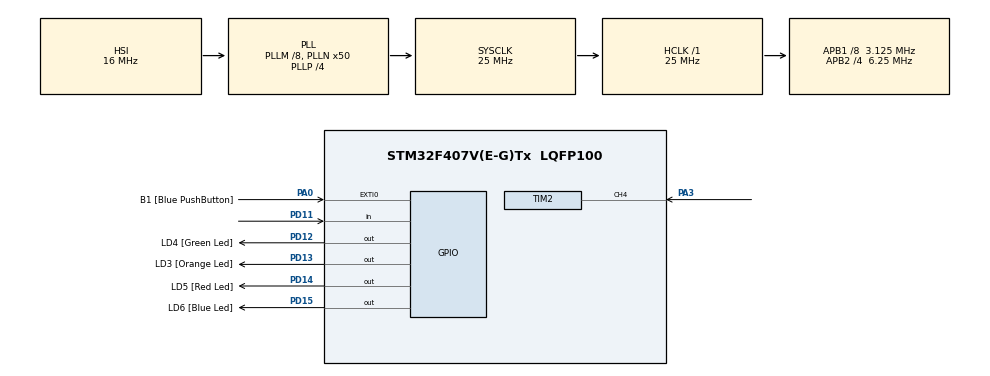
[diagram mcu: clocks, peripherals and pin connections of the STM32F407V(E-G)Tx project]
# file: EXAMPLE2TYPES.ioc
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Mcu.Family=STM32F4
Mcu.Name=STM32F407V(E-G)Tx
Mcu.Package=LQFP100
NVIC.PriorityGroup=NVIC_PRIORITYGROUP_0
NVIC.TIM2_IRQn=true\:0\:0\:false\:false\:true\:true
PA0-WKUP.GPIO_Label=B1 [Blue PushButton]
PA0-WKUP.GPIO_ModeDefaultEXTI=GPIO_MODE_EVT_RISING
PA0-WKUP.GPIO_PuPd=GPIO_NOPULL
PA0-WKUP.Signal=GPXTI0
PA10.GPIO_Label=OTG_FS_ID
PA10.GPIO_Mode=GPIO_MODE_AF_PP
PA10.GPIO_PuPd=GPIO_NOPULL
PA10.GPIO_Speed=GPIO_SPEED_FREQ_LOW
PA10.Signal=USB_OTG_FS_ID
PA11.GPIO_Label=OTG_FS_DM
PA11.GPIO_Mode=GPIO_MODE_AF_PP
PA11.GPIO_PuPd=GPIO_NOPULL
PA11.GPIO_Speed=GPIO_SPEED_FREQ_LOW
PA11.Signal=USB_OTG_FS_DM
PA12.GPIO_Label=OTG_FS_DP
PA12.GPIO_Mode=GPIO_MODE_AF_PP
PA12.GPIO_PuPd=GPIO_NOPULL
PA12.GPIO_Speed=GPIO_SPEED_FREQ_LOW
PA12.Signal=USB_OTG_FS_DP
PA13.GPIO_Label=SWDIO
PA13.Signal=SYS_JTMS-SWDIO
PA14.GPIO_Label=SWCLK
PA14.Signal=SYS_JTCK-SWCLK
PA3.Signal=S_TIM2_CH4
PA4.GPIO_Label=I2S3_WS [CS43L22_LRCK]
PA4.GPIO_Mode=GPIO_MODE_AF_PP
PA4.GPIO_PuPd=GPIO_NOPULL
PA4.GPIO_Speed=GPIO_SPEED_FREQ_LOW
PA4.Signal=I2S3_WS
PA5.GPIO_Label=SPI1_SCK [LIS302DL_SCL/SPC]
PA5.GPIO_Mode=GPIO_MODE_AF_PP
PA5.GPIO_PuPd=GPIO_NOPULL
PA5.GPIO_Speed=GPIO_SPEED_FREQ_LOW
PA5.Signal=SPI1_SCK
PA6.GPIO_Label=SPI1_MISO [LIS302DL_SDO]
PA6.GPIO_Mode=GPIO_MODE_AF_PP
PA6.GPIO_PuPd=GPIO_NOPULL
PA6.GPIO_Speed=GPIO_SPEED_FREQ_LOW
PA6.Signal=SPI1_MISO
PA7.GPIO_Label=SPI1_MOSI [LIS302DL_SDA/SDI/SDO]
PA7.GPIO_Mode=GPIO_MODE_AF_PP
PA7.GPIO_PuPd=GPIO_NOPULL
PA7.GPIO_Speed=GPIO_SPEED_FREQ_LOW
PA7.Signal=SPI1_MOSI
PA9.GPIO_Label=VBUS_FS
PA9.GPIO_Mode=GPIO_MODE_INPUT
PA9.GPIO_PuPd=GPIO_NOPULL
PA9.Signal=USB_OTG_FS_VBUS
PB10.GPIO_Label=CLK_IN [MP45DT02_CLK]
PB10.GPIO_Mode=GPIO_MODE_AF_PP
PB10.GPIO_PuPd=GPIO_NOPULL
PB10.GPIO_Speed=GPIO_SPEED_FREQ_LOW
PB10.Signal=I2S2_CK
PB3.GPIO_Label=SWO
PB3.Signal=SYS_JTDO-SWO
PB6.GPIO_Label=Audio_SCL [CS43L22_SCL]
PB6.GPIO_Mode=GPIO_MODE_AF_OD
PB6.GPIO_PuPd=GPIO_NOPULL
PB6.GPIO_Speed=GPIO_SPEED_FREQ_LOW
PB6.Signal=I2C1_SCL
PB9.GPIO_Label=Audio_SDA [CS43L22_SDA]
PB9.GPIO_Mode=GPIO_MODE_AF_OD
PB9.GPIO_PuPd=GPIO_NOPULL
PB9.GPIO_Speed=GPIO_SPEED_FREQ_LOW
PB9.Signal=I2C1_SDA
PC10.GPIO_Label=I2S3_SCK [CS43L22_SCLK]
PC10.GPIO_Mode=GPIO_MODE_AF_PP
PC10.GPIO_PuPd=GPIO_NOPULL
PC10.GPIO_Speed=GPIO_SPEED_FREQ_LOW
PC10.Signal=I2S3_CK
PC12.GPIO_Label=I2S3_SD [CS43L22_SDIN]
PC12.GPIO_Mode=GPIO_MODE_AF_PP
PC12.GPIO_PuPd=GPIO_NOPULL
PC12.GPIO_Speed=GPIO_SPEED_FREQ_LOW
PC12.Signal=I2S3_SD
PC14-OSC32_IN.GPIO_Label=PC14-OSC32_IN
PC14-OSC32_IN.Signal=RCC_OSC32_IN
PC15-OSC32_OUT.GPIO_Label=PC15-OSC32_OUT
PC15-OSC32_OUT.Signal=RCC_OSC32_OUT
PC3.GPIO_Label=PDM_OUT [MP45DT02_DOUT]
PC3.GPIO_Mode=GPIO_MODE_AF_PP
PC3.GPIO_PuPd=GPIO_NOPULL
PC3.GPIO_Speed=GPIO_SPEED_FREQ_LOW
PC3.Signal=I2S2_SD
PC7.GPIO_Label=I2S3_MCK [CS43L22_MCLK]
PC7.GPIO_Mode=GPIO_MODE_AF_PP
PC7.GPIO_PuPd=GPIO_NOPULL
PC7.GPIO_Speed=GPIO_SPEED_FREQ_LOW
PC7.Signal=I2S3_MCK
PD11.Signal=GPIO_Input
PD12.GPIO_Label=LD4 [Green Led]
PD12.GPIO_PuPd=GPIO_NOPULL
PD12.GPIO_Speed=GPIO_SPEED_FREQ_LOW
PD12.Signal=GPIO_Output
PD13.GPIO_Label=LD3 [Orange Led]
PD13.GPIO_PuPd=GPIO_NOPULL
PD13.GPIO_Speed=GPIO_SPEED_FREQ_LOW
PD13.Signal=GPIO_Output
PD14.GPIO_Label=LD5 [Red Led]
PD14.GPIO_PuPd=GPIO_NOPULL
PD14.GPIO_Speed=GPIO_SPEED_FREQ_LOW
PD14.Signal=GPIO_Output
PD15.GPIO_Label=LD6 [Blue Led]
PD15.GPIO_PuPd=GPIO_NOPULL
PD15.GPIO_Speed=GPIO_SPEED_FREQ_LOW
PD15.Signal=GPIO_Output
PH0-OSC_IN.GPIO_Label=PH0-OSC_IN
PH0-OSC_IN.Signal=RCC_OSC_IN
PH1-OSC_OUT.GPIO_Label=PH1-OSC_OUT
PH1-OSC_OUT.Signal=RCC_OSC_OUT
ProjectManager.HeapSize=0x200
ProjectManager.StackSize=0x400
ProjectManager.TargetToolchain=MDK-ARM V5
RCC.48MHZClocksFreq_Value=14285714.285714285
RCC.AHBFreq_Value=25000000
RCC.APB1CLKDivider=RCC_HCLK_DIV8
RCC.APB1Freq_Value=3125000
RCC.APB1TimFreq_Value=6250000
RCC.APB2CLKDivider=RCC_HCLK_DIV4
RCC.APB2Freq_Value=6250000
RCC.APB2TimFreq_Value=12500000
RCC.CortexFreq_Value=25000000
RCC.HCLKFreq_Value=25000000
RCC.HSE_VALUE=8000000
RCC.HSI_VALUE=16000000
RCC.LSE_VALUE=32768
RCC.PLLM=8
RCC.PLLN=50
RCC.PLLP=RCC_PLLP_DIV4
RCC.PLLQ=7
RCC.SYSCLKFreq_VALUE=25000000
RCC.SYSCLKSource=RCC_SYSCLKSOURCE_PLLCLK
RCC.VCOOutputFreq_Value=100000000
SH.S_TIM2_CH4.0=TIM2_CH4,Input_Capture4_from_TI4
TIM2.Channel-Input_Capture4_from_TI4=TIM_CHANNEL_4
TIM2.ICFilter_CH4=15
TIM2.Period=100000
TIM2.Prescaler=16000
VP_TIM2_VS_ClockSourceINT.Mode=Internal
board=STM32F4DISCOVERY

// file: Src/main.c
/**
  ******************************************************************************
  * @file           : main.c
  * @brief          : Main program body
  ******************************************************************************
  ** This notice applies to any and all portions of this file
  * that are not between comment pairs USER CODE BEGIN and
  * USER CODE END. Other portions of this file, whether
  * inserted by the user or by software development tools
  * are owned by their respective copyright owners.
  *
  * COPYRIGHT(c) 2018 STMicroelectronics
  *
  * Redistribution and use in source and binary forms, with or without modification,
  * are permitted provided that the following conditions are met:
  *   1. Redistributions of source code must retain the above copyright notice,
  *      this list of conditions and the following disclaimer.
  *   2. Redistributions in binary form must reproduce the above copyright notice,
  *      this list of conditions and the following disclaimer in the documentation
  *      and/or other materials provided with the distribution.
  *   3. Neither the name of STMicroelectronics nor the names of its contributors
  *      may be used to endorse or promote products derived from this software
  *      without specific prior written permission.
  *
  * THIS SOFTWARE IS PROVIDED BY THE COPYRIGHT HOLDERS AND CONTRIBUTORS "AS IS"
  * AND ANY EXPRESS OR IMPLIED WARRANTIES, INCLUDING, BUT NOT LIMITED TO, THE
  * IMPLIED WARRANTIES OF MERCHANTABILITY AND FITNESS FOR A PARTICULAR PURPOSE ARE
  * DISCLAIMED. IN NO EVENT SHALL THE COPYRIGHT HOLDER OR CONTRIBUTORS BE LIABLE
  * FOR ANY DIRECT, INDIRECT, INCIDENTAL, SPECIAL, EXEMPLARY, OR CONSEQUENTIAL
  * DAMAGES (INCLUDING, BUT NOT LIMITED TO, PROCUREMENT OF SUBSTITUTE GOODS OR
  * SERVICES; LOSS OF USE, DATA, OR PROFITS; OR BUSINESS INTERRUPTION) HOWEVER
  * CAUSED AND ON ANY THEORY OF LIABILITY, WHETHER IN CONTRACT, STRICT LIABILITY,
  * OR TORT (INCLUDING NEGLIGENCE OR OTHERWISE) ARISING IN ANY WAY OUT OF THE USE
  * OF THIS SOFTWARE, EVEN IF ADVISED OF THE POSSIBILITY OF SUCH DAMAGE.
  *
  ******************************************************************************
  */
#include "main.h"
#include "stm32f4xx_hal.h"

TIM_HandleTypeDef htim2;

/* USER CODE BEGIN PV */
/* Private variables ---------------------------------------------------------*/

/* USER CODE END PV */

void SystemClock_Config(void);
static void MX_GPIO_Init(void);
static void MX_TIM2_Init(void);

/* USER CODE BEGIN PFP */
/* Private function prototypes -----------------------------------------------*/

/* USER CODE END PFP */

/* USER CODE BEGIN 0 */
uint32_t counterVal;
uint32_t inputCaptureVal;
int counton=0;

//Callback, se llama cuando se presiona el botСn PA3
void HAL_TIM_IC_CaptureCallback(TIM_HandleTypeDef *htim)
{
  /* Prevent unused argument(s) compilation warning */
  //UNUSED(htim);
  /* NOTE : This function Should not be modified, when the callback is needed,
            the __HAL_TIM_IC_CaptureCallback could be implemented in the user file
   */
	//Comprobar que viene del timer 2

	if (htim->Instance==TIM2)
		{
		inputCaptureVal = __HAL_TIM_GetCounter(htim);
		__HAL_TIM_SetCounter(htim,0);

	  }

}
/* USER CODE END 0 */

int main(void)
{

  /* MCU Configuration----------------------------------------------------------*/

  /* Reset of all peripherals, Initializes the Flash interface and the Systick. */
  HAL_Init();

  /* Configure the system clock */
  SystemClock_Config();

  /* Initialize all configured peripherals */
  MX_GPIO_Init();
  MX_TIM2_Init();
  /* USER CODE BEGIN 2 */

	HAL_TIM_IC_Start_IT(&htim2,TIM_CHANNEL_4);//activamos el canal 4 del TIM2

  /* USER CODE END 2 */

  /* Infinite loop */
  while (1)
  {

  /* USER CODE BEGIN 3 */
		counterVal = __HAL_TIM_GetCounter(&htim2);//capturamos el valor del contador

		//bucle para comprobar que ponemos a cero el contador cuando pulsamos(inutil para el funcionamiento)

		if(counterVal == 0){
			HAL_GPIO_WritePin(GPIOD,GPIO_PIN_15,1);
		}else{
			HAL_GPIO_WritePin(GPIOD,GPIO_PIN_15,0);

		}

		//bucle que hace que se apage el led cada cierto tiempo

		if (counterVal < 9000)
			{
			if(HAL_GPIO_ReadPin(GPIOA,GPIO_PIN_3)==1)
				{
			   HAL_GPIO_WritePin(GPIOD,GPIO_PIN_14,1);
			  }
		  }else {
			HAL_GPIO_WritePin(GPIOD,GPIO_PIN_14,0);

		    }

		//bucle del interruptor simple
		int pusher1=HAL_GPIO_ReadPin(GPIOD,GPIO_PIN_11);

		if(pusher1==1)
			{
      if(counton==0)
				{
		  HAL_GPIO_WritePin(GPIOD,GPIO_PIN_13,1);
			counton++;
				}
	    else if(counton==1)
			{
		     if(pusher1==1)
					 {
		          HAL_GPIO_WritePin(GPIOD,GPIO_PIN_13,0);
							counton--;

					 }
		   }
		}

  }
  /* USER CODE END 3 */

}

void SystemClock_Config(void)
{

  RCC_OscInitTypeDef RCC_OscInitStruct;
  RCC_ClkInitTypeDef RCC_ClkInitStruct;

    /**Configure the main internal regulator output voltage
    */
  __HAL_RCC_PWR_CLK_ENABLE();

  __HAL_PWR_VOLTAGESCALING_CONFIG(PWR_REGULATOR_VOLTAGE_SCALE1);

    /**Initializes the CPU, AHB and APB busses clocks
    */
  RCC_OscInitStruct.OscillatorType = RCC_OSCILLATORTYPE_HSI;
  RCC_OscInitStruct.HSIState = RCC_HSI_ON;
  RCC_OscInitStruct.HSICalibrationValue = 16;
  RCC_OscInitStruct.PLL.PLLState = RCC_PLL_ON;
  RCC_OscInitStruct.PLL.PLLSource = RCC_PLLSOURCE_HSI;
  RCC_OscInitStruct.PLL.PLLM = 8;
  RCC_OscInitStruct.PLL.PLLN = 50;
  RCC_OscInitStruct.PLL.PLLP = RCC_PLLP_DIV4;
  RCC_OscInitStruct.PLL.PLLQ = 7;
  if (HAL_RCC_OscConfig(&RCC_OscInitStruct) != HAL_OK)
  {
    _Error_Handler(__FILE__, __LINE__);
  }

    /**Initializes the CPU, AHB and APB busses clocks
    */
  RCC_ClkInitStruct.ClockType = RCC_CLOCKTYPE_HCLK|RCC_CLOCKTYPE_SYSCLK
                              |RCC_CLOCKTYPE_PCLK1|RCC_CLOCKTYPE_PCLK2;
  RCC_ClkInitStruct.SYSCLKSource = RCC_SYSCLKSOURCE_PLLCLK;
  RCC_ClkInitStruct.AHBCLKDivider = RCC_SYSCLK_DIV1;
  RCC_ClkInitStruct.APB1CLKDivider = RCC_HCLK_DIV8;
  RCC_ClkInitStruct.APB2CLKDivider = RCC_HCLK_DIV4;

  if (HAL_RCC_ClockConfig(&RCC_ClkInitStruct, FLASH_LATENCY_0) != HAL_OK)
  {
    _Error_Handler(__FILE__, __LINE__);
  }

    /**Configure the Systick interrupt time
    */
  HAL_SYSTICK_Config(HAL_RCC_GetHCLKFreq()/1000);

    /**Configure the Systick
    */
  HAL_SYSTICK_CLKSourceConfig(SYSTICK_CLKSOURCE_HCLK);

  /* SysTick_IRQn interrupt configuration */
  HAL_NVIC_SetPriority(SysTick_IRQn, 0, 0);
}

/* TIM2 init function */
static void MX_TIM2_Init(void)
{

  TIM_ClockConfigTypeDef sClockSourceConfig;
  TIM_MasterConfigTypeDef sMasterConfig;
  TIM_IC_InitTypeDef sConfigIC;

  htim2.Instance = TIM2;
  htim2.Init.Prescaler = 16000;
  htim2.Init.CounterMode = TIM_COUNTERMODE_UP;
  htim2.Init.Period = 100000;
  htim2.Init.ClockDivision = TIM_CLOCKDIVISION_DIV1;
  if (HAL_TIM_Base_Init(&htim2) != HAL_OK)
  {
    _Error_Handler(__FILE__, __LINE__);
  }

  sClockSourceConfig.ClockSource = TIM_CLOCKSOURCE_INTERNAL;
  if (HAL_TIM_ConfigClockSource(&htim2, &sClockSourceConfig) != HAL_OK)
  {
    _Error_Handler(__FILE__, __LINE__);
  }

  if (HAL_TIM_IC_Init(&htim2) != HAL_OK)
  {
    _Error_Handler(__FILE__, __LINE__);
  }

  sMasterConfig.MasterOutputTrigger = TIM_TRGO_RESET;
  sMasterConfig.MasterSlaveMode = TIM_MASTERSLAVEMODE_DISABLE;
  if (HAL_TIMEx_MasterConfigSynchronization(&htim2, &sMasterConfig) != HAL_OK)
  {
    _Error_Handler(__FILE__, __LINE__);
  }

  sConfigIC.ICPolarity = TIM_INPUTCHANNELPOLARITY_RISING;
  sConfigIC.ICSelection = TIM_ICSELECTION_DIRECTTI;
  sConfigIC.ICPrescaler = TIM_ICPSC_DIV1;
  sConfigIC.ICFilter = 15;
  if (HAL_TIM_IC_ConfigChannel(&htim2, &sConfigIC, TIM_CHANNEL_4) != HAL_OK)
  {
    _Error_Handler(__FILE__, __LINE__);
  }

}

/** Configure pins as
        * Analog
        * Input
        * Output
        * EVENT_OUT
        * EXTI
     PC3   ------> I2S2_SD
     PA4   ------> I2S3_WS
     PA5   ------> SPI1_SCK
     PA6   ------> SPI1_MISO
     PA7   ------> SPI1_MOSI
     PB10   ------> I2S2_CK
     PC7   ------> I2S3_MCK
     PA9   ------> USB_OTG_FS_VBUS
     PA10   ------> USB_OTG_FS_ID
     PA11   ------> USB_OTG_FS_DM
     PA12   ------> USB_OTG_FS_DP
     PC10   ------> I2S3_CK
     PC12   ------> I2S3_SD
     PB6   ------> I2C1_SCL
     PB9   ------> I2C1_SDA
*/
static void MX_GPIO_Init(void)
{

  GPIO_InitTypeDef GPIO_InitStruct;

  /* GPIO Ports Clock Enable */
  __HAL_RCC_GPIOC_CLK_ENABLE();
  __HAL_RCC_GPIOH_CLK_ENABLE();
  __HAL_RCC_GPIOA_CLK_ENABLE();
  __HAL_RCC_GPIOB_CLK_ENABLE();
  __HAL_RCC_GPIOD_CLK_ENABLE();

  /*Configure GPIO pin Output Level */
  HAL_GPIO_WritePin(GPIOD, LD4_Pin|LD3_Pin|LD5_Pin|LD6_Pin, GPIO_PIN_RESET);

  /*Configure GPIO pin : PDM_OUT_Pin */
  GPIO_InitStruct.Pin = PDM_OUT_Pin;
  GPIO_InitStruct.Mode = GPIO_MODE_AF_PP;
  GPIO_InitStruct.Pull = GPIO_NOPULL;
  GPIO_InitStruct.Speed = GPIO_SPEED_FREQ_LOW;
  GPIO_InitStruct.Alternate = GPIO_AF5_SPI2;
  HAL_GPIO_Init(PDM_OUT_GPIO_Port, &GPIO_InitStruct);

  /*Configure GPIO pin : B1_Pin */
  GPIO_InitStruct.Pin = B1_Pin;
  GPIO_InitStruct.Mode = GPIO_MODE_EVT_RISING;
  GPIO_InitStruct.Pull = GPIO_NOPULL;
  HAL_GPIO_Init(B1_GPIO_Port, &GPIO_InitStruct);

  /*Configure GPIO pin : I2S3_WS_Pin */
  GPIO_InitStruct.Pin = I2S3_WS_Pin;
  GPIO_InitStruct.Mode = GPIO_MODE_AF_PP;
  GPIO_InitStruct.Pull = GPIO_NOPULL;
  GPIO_InitStruct.Speed = GPIO_SPEED_FREQ_LOW;
  GPIO_InitStruct.Alternate = GPIO_AF6_SPI3;
  HAL_GPIO_Init(I2S3_WS_GPIO_Port, &GPIO_InitStruct);

  /*Configure GPIO pins : SPI1_SCK_Pin SPI1_MISO_Pin SPI1_MOSI_Pin */
  GPIO_InitStruct.Pin = SPI1_SCK_Pin|SPI1_MISO_Pin|SPI1_MOSI_Pin;
  GPIO_InitStruct.Mode = GPIO_MODE_AF_PP;
  GPIO_InitStruct.Pull = GPIO_NOPULL;
  GPIO_InitStruct.Speed = GPIO_SPEED_FREQ_LOW;
  GPIO_InitStruct.Alternate = GPIO_AF5_SPI1;
  HAL_GPIO_Init(GPIOA, &GPIO_InitStruct);

  /*Configure GPIO pin : CLK_IN_Pin */
  GPIO_InitStruct.Pin = CLK_IN_Pin;
  GPIO_InitStruct.Mode = GPIO_MODE_AF_PP;
  GPIO_InitStruct.Pull = GPIO_NOPULL;
  GPIO_InitStruct.Speed = GPIO_SPEED_FREQ_LOW;
  GPIO_InitStruct.Alternate = GPIO_AF5_SPI2;
  HAL_GPIO_Init(CLK_IN_GPIO_Port, &GPIO_InitStruct);

  /*Configure GPIO pin : PD11 */
  GPIO_InitStruct.Pin = GPIO_PIN_11;
  GPIO_InitStruct.Mode = GPIO_MODE_INPUT;
  GPIO_InitStruct.Pull = GPIO_NOPULL;
  HAL_GPIO_Init(GPIOD, &GPIO_InitStruct);

  /*Configure GPIO pins : LD4_Pin LD3_Pin LD5_Pin LD6_Pin */
  GPIO_InitStruct.Pin = LD4_Pin|LD3_Pin|LD5_Pin|LD6_Pin;
  GPIO_InitStruct.Mode = GPIO_MODE_OUTPUT_PP;
  GPIO_InitStruct.Pull = GPIO_NOPULL;
  GPIO_InitStruct.Speed = GPIO_SPEED_FREQ_LOW;
  HAL_GPIO_Init(GPIOD, &GPIO_InitStruct);

  /*Configure GPIO pins : I2S3_MCK_Pin I2S3_SCK_Pin I2S3_SD_Pin */
  GPIO_InitStruct.Pin = I2S3_MCK_Pin|I2S3_SCK_Pin|I2S3_SD_Pin;
  GPIO_InitStruct.Mode = GPIO_MODE_AF_PP;
  GPIO_InitStruct.Pull = GPIO_NOPULL;
  GPIO_InitStruct.Speed = GPIO_SPEED_FREQ_LOW;
  GPIO_InitStruct.Alternate = GPIO_AF6_SPI3;
  HAL_GPIO_Init(GPIOC, &GPIO_InitStruct);

  /*Configure GPIO pin : VBUS_FS_Pin */
  GPIO_InitStruct.Pin = VBUS_FS_Pin;
  GPIO_InitStruct.Mode = GPIO_MODE_INPUT;
  GPIO_InitStruct.Pull = GPIO_NOPULL;
  HAL_GPIO_Init(VBUS_FS_GPIO_Port, &GPIO_InitStruct);

  /*Configure GPIO pins : OTG_FS_ID_Pin OTG_FS_DM_Pin OTG_FS_DP_Pin */
  GPIO_InitStruct.Pin = OTG_FS_ID_Pin|OTG_FS_DM_Pin|OTG_FS_DP_Pin;
  GPIO_InitStruct.Mode = GPIO_MODE_AF_PP;
  GPIO_InitStruct.Pull = GPIO_NOPULL;
  GPIO_InitStruct.Speed = GPIO_SPEED_FREQ_LOW;
  GPIO_InitStruct.Alternate = GPIO_AF10_OTG_FS;
  HAL_GPIO_Init(GPIOA, &GPIO_InitStruct);

  /*Configure GPIO pins : Audio_SCL_Pin Audio_SDA_Pin */
  GPIO_InitStruct.Pin = Audio_SCL_Pin|Audio_SDA_Pin;
  GPIO_InitStruct.Mode = GPIO_MODE_AF_OD;
  GPIO_InitStruct.Pull = GPIO_PULLUP;
  GPIO_InitStruct.Speed = GPIO_SPEED_FREQ_LOW;
  GPIO_InitStruct.Alternate = GPIO_AF4_I2C1;
  HAL_GPIO_Init(GPIOB, &GPIO_InitStruct);

}

void _Error_Handler(char *file, int line)
{
  while(1)
  {
  }
}

/************************ (C) COPYRIGHT STMicroelectronics *****END OF FILE****/
